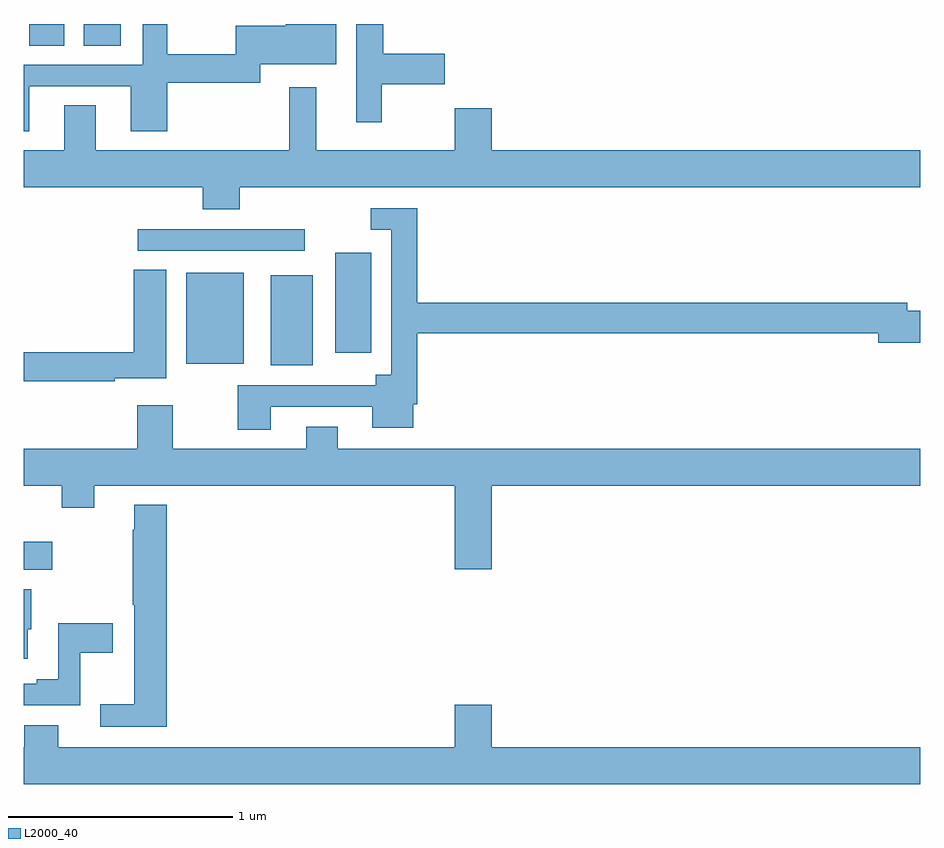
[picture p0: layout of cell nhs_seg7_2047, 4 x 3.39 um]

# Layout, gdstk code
import gdstk
lib = gdstk.Library(unit=1e-6, precision=1e-09)
def R(c, l, rs):  # rectangles x0, y0, x1, y1
    for r in rs: c.add(gdstk.rectangle(r[:2], r[2:], *l))
def P(c, l, *ps):  # polygons
    for p in ps: c.add(gdstk.Polygon(p, *l))
L2000_40 = (2000, 40)

nhs_seg7_2047 = lib.new_cell('nhs_seg7_2047')
R(nhs_seg7_2047, L2000_40, [(247,1009.565,247.126,1009.69), (248.102,1010.477,248.29,1010.878), (247.724,1010.483,247.981,1010.89), (248.39,1010.532,248.551,1010.98), (247.509,1010.988,248.254,1011.084), (247.025,1011.904,247.18,1012), (247.268,1011.904,247.432,1012)])
P(nhs_seg7_2047, L2000_40, [(248.597,1011.73),(248.878,1011.73),(248.878,1011.867),(248.605,1011.867),(248.605,1012),(248.483,1012),(248.483,1011.561),(248.597,1011.561)],
  [(247.024,1011.723),(247.478,1011.723),(247.478,1011.522),(247.64,1011.522),(247.64,1011.738),(248.056,1011.738),(248.056,1011.821),(248.395,1011.821),(248.395,1012),(248.168,1012),(248.168,1011.992),(247.946,1011.992),(247.946,1011.866),(247.639,1011.866),(247.639,1012),(247.53,1012),(247.53,1011.819),(247,1011.819),(247,1011.522),(247.024,1011.522)],
  [(247.964,1011.272),(251,1011.272),(251,1011.436),(249.088,1011.436),(249.088,1011.625),(248.924,1011.625),(248.924,1011.436),(248.305,1011.436),(248.305,1011.718),(248.184,1011.718),(248.184,1011.436),(247.321,1011.436),(247.321,1011.638),(247.181,1011.638),(247.181,1011.436),(247,1011.436),(247,1011.272),(247.799,1011.272),(247.799,1011.173),(247.964,1011.173)],
  [(248.101,1010.292),(248.555,1010.292),(248.555,1010.198),(248.737,1010.198),(248.737,1010.302),(248.756,1010.302),(248.756,1010.62),(250.814,1010.62),(250.814,1010.578),(251,1010.578),(251,1010.72),(250.942,1010.72),(250.942,1010.756),(248.756,1010.756),(248.756,1011.177),(248.547,1011.177),(248.547,1011.081),(248.64,1011.081),(248.64,1010.434),(248.57,1010.434),(248.57,1010.388),(247.954,1010.388),(247.954,1010.19),(248.101,1010.19)],
  [(247.406,1010.418),(247.636,1010.418),(247.636,1010.903),(247.49,1010.903),(247.49,1010.534),(247,1010.534),(247,1010.406),(247.406,1010.406)],
  [(249.088,1009.94),(251,1009.94),(251,1010.104),(248.401,1010.104),(248.401,1010.203),(248.261,1010.203),(248.261,1010.104),(247.665,1010.104),(247.665,1010.299),(247.505,1010.299),(247.505,1010.104),(247,1010.104),(247,1009.94),(247.168,1009.94),(247.168,1009.841),(247.315,1009.841),(247.315,1009.94),(248.924,1009.94),(248.924,1009.566),(249.088,1009.566)],
  [(247.637,1009.855),(247.493,1009.855),(247.493,1009.742),(247.486,1009.742),(247.486,1009.408),(247.493,1009.408),(247.493,1008.963),(247.341,1008.963),(247.341,1008.864),(247.637,1008.864)],
  [(247.018,1009.299),(247.033,1009.299),(247.033,1009.477),(247,1009.477),(247,1009.166),(247.018,1009.166)],
  [(247.251,1009.193),(247.396,1009.193),(247.396,1009.325),(247.154,1009.325),(247.154,1009.076),(247.058,1009.076),(247.058,1009.056),(247,1009.056),(247,1008.96),(247.251,1008.96)],
  [(251,1008.772),(249.088,1008.772),(249.088,1008.961),(248.924,1008.961),(248.924,1008.772),(247.153,1008.772),(247.153,1008.871),(247.001,1008.871),(247.001,1008.772),(247,1008.772),(247,1008.608),(251,1008.608)])

lib.write_gds('nhs_seg7_2047.gds')
